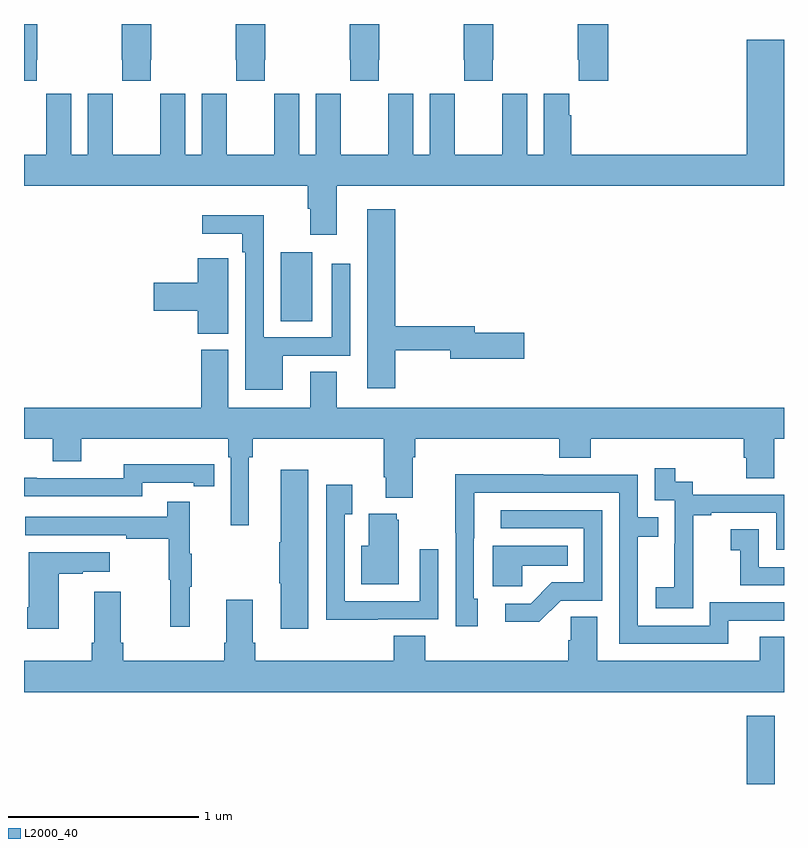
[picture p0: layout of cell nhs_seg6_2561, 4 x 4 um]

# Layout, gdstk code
import gdstk
lib = gdstk.Library(unit=1e-6, precision=1e-09)
def R(c, l, rs):  # rectangles x0, y0, x1, y1
    for r in rs: c.add(gdstk.rectangle(r[:2], r[2:], *l))
def P(c, l, *ps):  # polygons
    for p in ps: c.add(gdstk.Polygon(p, *l))
L2000_40 = (2000, 40)

nhs_seg6_2561 = lib.new_cell('nhs_seg6_2561')
R(nhs_seg6_2561, L2000_40, [(266.804,965.5,266.95,965.86), (264.35,967.936,264.517,968.299)])
P(nhs_seg6_2561, L2000_40, [(266.075,969.5),(265.915,969.5),(265.915,969.313),(265.921,969.313),(265.921,969.201),(266.075,969.201)],
  [(265.467,969.313),(265.47,969.313),(265.47,969.5),(265.315,969.5),(265.315,969.313),(265.317,969.313),(265.317,969.201),(265.467,969.201)],
  [(264.867,969.313),(264.87,969.313),(264.87,969.5),(264.715,969.5),(264.715,969.313),(264.717,969.313),(264.717,969.201),(264.867,969.201)],
  [(264.267,969.313),(264.27,969.313),(264.27,969.5),(264.115,969.5),(264.115,969.313),(264.117,969.313),(264.117,969.201),(264.267,969.201)],
  [(263.667,969.313),(263.67,969.313),(263.67,969.5),(263.515,969.5),(263.515,969.313),(263.517,969.313),(263.517,969.201),(263.667,969.201)],
  [(263.067,969.313),(263.07,969.313),(263.07,969.5),(263,969.5),(263,969.201),(263.067,969.201)],
  [(264.646,968.648),(267,968.648),(267,969.418),(266.804,969.418),(266.804,968.812),(265.88,968.812),(265.88,969.02),(265.87,969.02),(265.87,969.133),(265.736,969.133),(265.736,968.812),(265.648,968.812),(265.648,969.133),(265.518,969.133),(265.518,969.02),(265.517,969.02),(265.517,968.812),(265.267,968.812),(265.267,969.02),(265.266,969.02),(265.266,969.133),(265.136,969.133),(265.136,968.812),(265.048,968.812),(265.048,969.133),(264.918,969.133),(264.918,969.02),(264.917,969.02),(264.917,968.812),(264.667,968.812),(264.667,969.02),(264.666,969.02),(264.666,969.133),(264.536,969.133),(264.536,968.812),(264.448,968.812),(264.448,969.133),(264.318,969.133),(264.318,969.02),(264.317,969.02),(264.317,968.812),(264.067,968.812),(264.067,969.02),(264.066,969.02),(264.066,969.133),(263.936,969.133),(263.936,968.812),(263.848,968.812),(263.848,969.133),(263.718,969.133),(263.718,969.02),(263.717,969.02),(263.717,968.812),(263.467,968.812),(263.467,969.02),(263.466,969.02),(263.466,969.133),(263.336,969.133),(263.336,968.812),(263.248,968.812),(263.248,969.133),(263.118,969.133),(263.118,969.02),(263.117,969.02),(263.117,968.812),(263,968.812),(263,968.648),(264.494,968.648),(264.494,968.528),(264.506,968.528),(264.506,968.391),(264.646,968.391)],
  [(264.953,967.782),(265.244,967.782),(265.244,967.739),(265.633,967.739),(265.633,967.874),(265.372,967.874),(265.372,967.91),(264.953,967.91),(264.953,968.524),(264.806,968.524),(264.806,967.584),(264.953,967.584)],
  [(264.361,967.755),(264.717,967.755),(264.717,968.239),(264.621,968.239),(264.621,967.851),(264.261,967.851),(264.261,968.494),(263.937,968.494),(263.937,968.396),(264.149,968.396),(264.149,968.3),(264.165,968.3),(264.165,967.574),(264.361,967.574)],
  [(264.076,968.153),(264.075,968.153),(264.075,968.266),(263.915,968.266),(263.915,968.138),(263.682,968.138),(263.682,967.991),(263.915,967.991),(263.915,967.87),(264.076,967.87)],
  [(264.184,967.22),(264.203,967.22),(264.203,967.316),(264.893,967.316),(264.893,967.114),(264.905,967.114),(264.905,967.007),(265.045,967.007),(265.045,967.22),(265.058,967.22),(265.058,967.316),(265.817,967.316),(265.817,967.217),(265.982,967.217),(265.982,967.316),(266.789,967.316),(266.789,967.218),(266.801,967.218),(266.801,967.108),(266.949,967.108),(266.949,967.316),(267,967.316),(267,967.48),(264.646,967.48),(264.646,967.67),(264.506,967.67),(264.506,967.48),(264.076,967.48),(264.076,967.785),(263.933,967.785),(263.933,967.48),(263,967.48),(263,967.316),(263.15,967.316),(263.15,967.199),(263.302,967.199),(263.302,967.316),(264.074,967.316),(264.074,967.22),(264.087,967.22),(264.087,966.861),(264.184,966.861)],
  [(263.622,967.086),(263.894,967.086),(263.894,967.066),(264.002,967.066),(264.002,967.182),(263.894,967.182),(263.894,967.183),(263.526,967.183),(263.526,967.11),(263.066,967.11),(263.066,967.112),(263,967.112),(263,967.014),(263.622,967.014)],
  [(266.523,966.631),(266.522,966.631),(266.522,966.915),(266.617,966.915),(266.617,966.927),(266.958,966.927),(266.958,966.732),(267,966.732),(267,967.023),(266.52,967.023),(266.52,967.092),(266.428,967.092),(266.428,967.162),(266.319,967.162),(266.319,966.993),(266.424,966.993),(266.424,966.764),(266.423,966.764),(266.423,966.535),(266.325,966.535),(266.325,966.425),(266.523,966.425)],
  [(264.496,967.153),(264.35,967.153),(264.35,966.773),(264.343,966.773),(264.343,966.556),(264.35,966.556),(264.35,966.318),(264.496,966.318)],
  [(266.707,966.36),(267,966.36),(267,966.456),(266.61,966.456),(266.61,966.333),(266.229,966.333),(266.229,966.802),(266.339,966.802),(266.339,966.903),(266.229,966.903),(266.229,967.128),(265.733,967.128),(265.733,967.13),(265.27,967.13),(265.27,966.823),(265.272,966.823),(265.272,966.33),(265.387,966.33),(265.387,966.474),(265.368,966.474),(265.368,966.793),(265.369,966.793),(265.369,967.032),(266.133,967.032),(266.133,966.237),(266.707,966.237)],
  [(264.863,966.366),(265.179,966.366),(265.179,966.736),(265.083,966.736),(265.083,966.462),(264.687,966.462),(264.687,966.919),(264.727,966.919),(264.727,967.075),(264.591,967.075),(264.591,966.365),(264.863,966.365)],
  [(263.873,966.539),(263.884,966.539),(263.884,966.713),(263.873,966.713),(263.873,966.985),(263.755,966.985),(263.755,966.906),(263.007,966.906),(263.007,966.81),(263.539,966.81),(263.539,966.79),(263.763,966.79),(263.763,966.576),(263.77,966.576),(263.77,966.327),(263.873,966.327)],
  [(265.824,966.465),(266.043,966.465),(266.043,966.942),(265.509,966.942),(265.509,966.846),(265.947,966.846),(265.947,966.561),(265.778,966.561),(265.667,966.45),(265.533,966.45),(265.533,966.353),(265.711,966.353)],
  [(264.973,966.891),(264.962,966.891),(264.962,966.922),(264.815,966.922),(264.815,966.754),(264.776,966.754),(264.776,966.551),(264.973,966.551)],
  [(267,966.642),(266.868,966.642),(266.868,966.841),(266.721,966.841),(266.721,966.731),(266.77,966.731),(266.77,966.546),(267,966.546)],
  [(265.623,966.65),(265.862,966.65),(265.862,966.754),(265.466,966.754),(265.466,966.542),(265.623,966.542)],
  [(263.182,966.607),(263.309,966.607),(263.309,966.617),(263.452,966.617),(263.452,966.721),(263.024,966.721),(263.024,966.43),(263.017,966.43),(263.017,966.318),(263.182,966.318)],
  [(267,966.275),(266.873,966.275),(266.873,966.148),(266.017,966.148),(266.017,966.38),(265.878,966.38),(265.878,966.257),(265.865,966.257),(265.865,966.148),(265.112,966.148),(265.112,966.281),(264.947,966.281),(264.947,966.148),(264.218,966.148),(264.218,966.244),(264.205,966.244),(264.205,966.469),(264.065,966.469),(264.065,966.244),(264.053,966.244),(264.053,966.148),(263.522,966.148),(263.522,966.244),(263.509,966.244),(263.509,966.511),(263.369,966.511),(263.369,966.244),(263.357,966.244),(263.357,966.148),(263,966.148),(263,965.984),(267,965.984)])

lib.write_gds('nhs_seg6_2561.gds')
